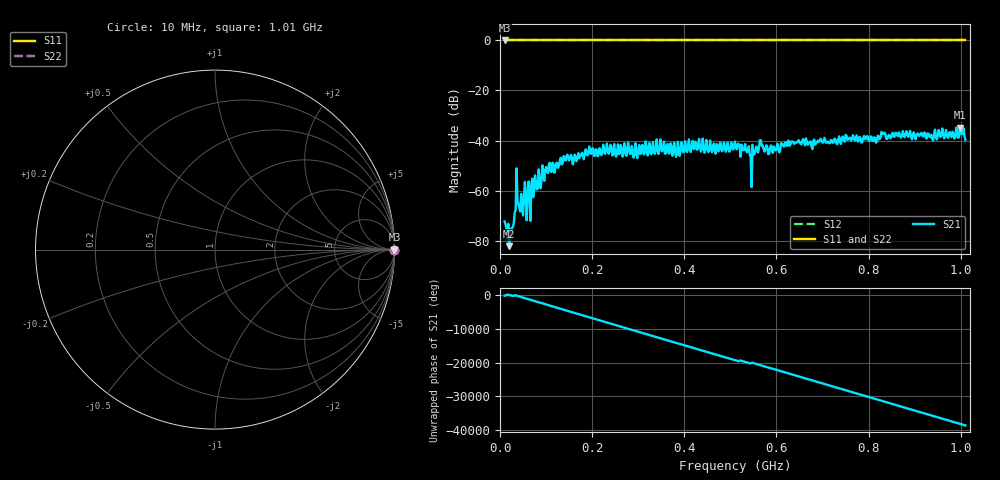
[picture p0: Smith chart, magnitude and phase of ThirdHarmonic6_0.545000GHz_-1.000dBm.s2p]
! 8/15/2025 5:11:21 PM
! C:\ANRITSUVNA\TEMP\TEMP.S2P
! CHANNEL.1
! TR.MEASUREMENT
! RAW.DATA
! RF.CORRECTION.OFF
! AVERAGING.OFF
! IF.BANDWIDTH: 5KHZ
! SWEEPTYPE:  FREQ.SWEEP(Linear)
! Reference Plane Port Info
! PORT:  PORT1  PORT2
! DISTANCE:  0  m  0  m
! TIME:  0  s  0  s
! PHASE.OFFSET:  0  deg.  0  deg.
! LOSS:  0  dB  0  dB
! REF.LOSS:  0  dB  0  dB
! REF.FREQ:  0  Hz  0  Hz
! Power Info
! POWER:  -20  dBm  -20  dBm
! EFF.POWER:  -20  dBm  -20  dBm
! SOURCE.ATTEN:  0  dB  0  dB
! TEST.ATTEN:  0  dB  0  dB
# GHZ S RI R 50.0
! FREQ.GHZ  S11RE  S11IM  S21RE  S21IM  S12RE  S12IM  S22RE  S22IM
!; PortSelection: Port_12
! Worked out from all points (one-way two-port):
!   501 points, 10 MHz to 1.01 GHz, reference 50 ohm
!   highest |S21| = -34.84 dB at 998 MHz (marker M1); lowest = -82.2 dB at 20 MHz (marker M2)
!   lowest |S11| = 0.0 dB at 10 MHz (marker M3)
!   |S11| at or under -10 dB: nowhere
!   |S22| runs from 0.0 to 0.0 dB; largest |S21 - S12| = 1
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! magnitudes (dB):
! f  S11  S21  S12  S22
! 10 MHz  0.0  -72.4  0.0  0.0
! 20 MHz  0.0  -82.2  0.0  0.0
! 28 MHz  0.0  -74.6  0.0  0.0
! 36 MHz  0.0  -51.1  0.0  0.0
! 46 MHz  0.0  -61.4  0.0  0.0
! 58 MHz  0.0  -71.9  0.0  0.0
! 62 MHz  0.0  -56.4  0.0  0.0
! 70 MHz  0.0  -55.2  0.0  0.0
! 72 MHz  0.0  -62.7  0.0  0.0
! 104 MHz  0.0  -53.0  0.0  0.0
! 178 MHz  0.0  -44.9  0.0  0.0
! 344 MHz  0.0  -45.4  0.0  0.0
! 510 MHz  0.0  -40.4  0.0  0.0
! 536 MHz  0.0  -44.7  0.0  0.0
! 548 MHz  0.0  -41.7  0.0  0.0
! 552 MHz  0.0  -45.5  0.0  0.0
! 566 MHz  0.0  -39.9  0.0  0.0
! 586 MHz  0.0  -43.1  0.0  0.0
! 678 MHz  0.0  -43.4  0.0  0.0
! 844 MHz  0.0  -37.8  0.0  0.0
! 998 MHz  0.0  -34.8  0.0  0.0
! 1.01 GHz  0.0  -39.7  0.0  0.0
